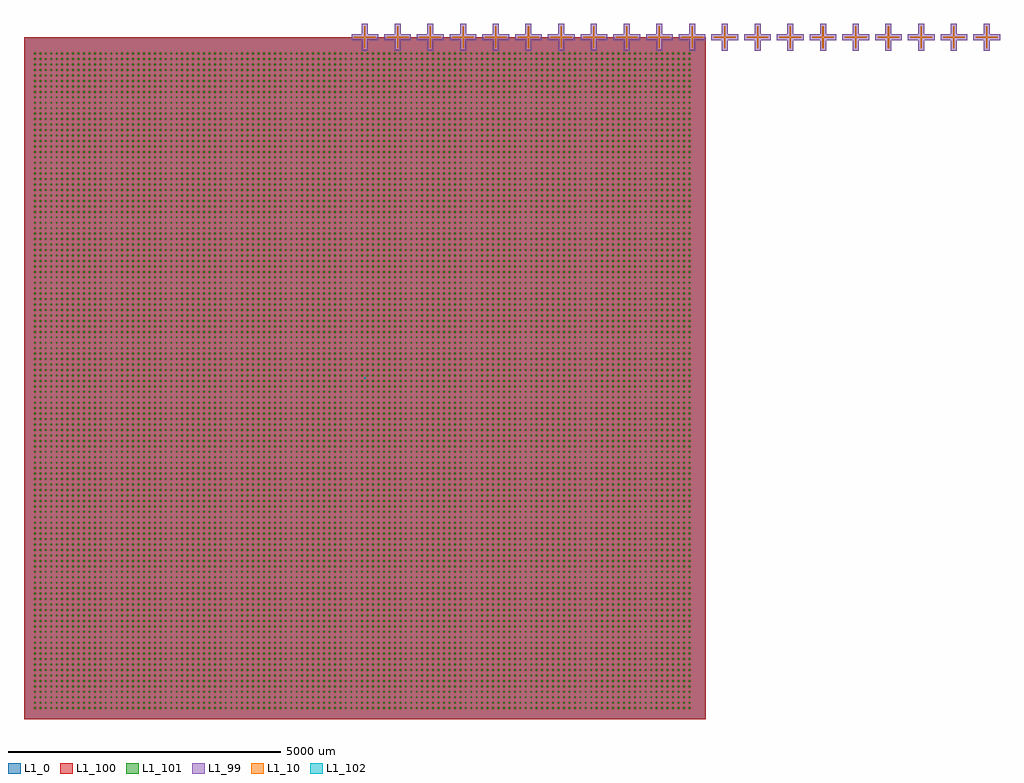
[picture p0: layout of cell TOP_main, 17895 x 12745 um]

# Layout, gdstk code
import gdstk
lib = gdstk.Library(unit=1e-6, precision=1e-09)
def R(c, l, rs):  # rectangles x0, y0, x1, y1
    for r in rs: c.add(gdstk.rectangle(r[:2], r[2:], *l))
def A(c, l, x, y, w, h, nx, ny, dx, dy):  # array of equal rectangles
    R(c, l, [(x+i*dx, y+j*dy, x+i*dx+w, y+j*dy+h) for i in range(nx) for j in range(ny)])
def P(c, l, *ps):  # polygons
    for p in ps: c.add(gdstk.Polygon(p, *l))
L1_0 = (1, 0)
L1_10 = (1, 10)
L1_99 = (1, 99)
L1_100 = (1, 100)
L1_101 = (1, 101)
L1_102 = (1, 102)

ground_main_1 = lib.new_cell('ground_main_1')
P(ground_main_1, L1_0, [(6250,6250),(6220,6250),(6220,6220),(6030,6220),(6030,6030),(5970,6030),(5970,6220),(5780,6220),(5780,6250),(5620,6250),(5620,6220),(5430,6220),(5430,6030),(5370,6030),(5370,6220),(5180,6220),(5180,6250),(5020,6250),(5020,6220),(4830,6220),(4830,6030),(4770,6030),(4770,6220),(4580,6220),(4580,6250),(4420,6250),(4420,6220),(4230,6220),(4230,6030),(4170,6030),(4170,6220),(3980,6220),(3980,6250),(3820,6250),(3820,6220),(3630,6220),(3630,6030),(3570,6030),(3570,6220),(3380,6220),(3380,6250),(3220,6250),(3220,6220),(3030,6220),(3030,6030),(2970,6030),(2970,6220),(2780,6220),(2780,6250),(2620,6250),(2620,6220),(2430,6220),(2430,6030),(2370,6030),(2370,6220),(2180,6220),(2180,6250),(2020,6250),(2020,6220),(1830,6220),(1830,6030),(1770,6030),(1770,6220),(1580,6220),(1580,6250),(1420,6250),(1420,6220),(1230,6220),(1230,6030),(1170,6030),(1170,6220),(980,6220),(980,6250),(820,6250),(820,6220),(630,6220),(630,6030),(570,6030),(570,6220),(380,6220),(380,6250),(220,6250),(220,6220),(30,6220),(30,6030),(-30,6030),(-30,6220),(-220,6220),(-220,6250),(-6250,6250),(-6250,-6250),(6250,-6250)])

top_main_1_one_hole = lib.new_cell('TOP_main_1_one_hole')
P(top_main_1_one_hole, L1_102, [(12.5,-12.5),(12.5,12.5),(-12.5,12.5),(-12.5,-12.5),(12.5,-12.5)])

top_main_1_cheese_diff = lib.new_cell('TOP_main_1_Cheese_diff')
A(top_main_1_cheese_diff, L1_101, -6062.5, -6062.5, 25, 25, 121, 121, 100, 100)

top_main_1_cheese_100 = lib.new_cell('TOP_main_1_Cheese_100')
A(top_main_1_cheese_100, L1_100, -6250, -6062.5, 187.5, 25, 1, 121, 0, 100)
A(top_main_1_cheese_100, L1_100, -6037.5, -6062.5, 75, 25, 120, 121, 100, 100)
A(top_main_1_cheese_100, L1_100, 5962.5, -6062.5, 287.5, 25, 1, 121, 0, 100)
A(top_main_1_cheese_100, L1_100, -6250, -6037.5, 12500, 75, 1, 120, 0, 100)
R(top_main_1_cheese_100, L1_100, [(-6250,-6250,6250,-6062.5)])
P(top_main_1_cheese_100, L1_100, [(6250,6250),(6220,6250),(6220,6220),(6030,6220),(6030,6030),(5970,6030),(5970,6220),(5780,6220),(5780,6250),(5620,6250),(5620,6220),(5430,6220),(5430,6030),(5370,6030),(5370,6220),(5180,6220),(5180,6250),(5020,6250),(5020,6220),(4830,6220),(4830,6030),(4770,6030),(4770,6220),(4580,6220),(4580,6250),(4420,6250),(4420,6220),(4230,6220),(4230,6030),(4170,6030),(4170,6220),(3980,6220),(3980,6250),(3820,6250),(3820,6220),(3630,6220),(3630,6030),(3570,6030),(3570,6220),(3380,6220),(3380,6250),(3220,6250),(3220,6220),(3030,6220),(3030,6030),(2970,6030),(2970,6220),(2780,6220),(2780,6250),(2620,6250),(2620,6220),(2430,6220),(2430,6030),(2370,6030),(2370,6220),(2180,6220),(2180,6250),(2020,6250),(2020,6220),(1830,6220),(1830,6030),(1770,6030),(1770,6220),(1580,6220),(1580,6250),(1420,6250),(1420,6220),(1230,6220),(1230,6030),(1170,6030),(1170,6220),(980,6220),(980,6250),(820,6250),(820,6220),(630,6220),(630,6030),(570,6030),(570,6220),(380,6220),(380,6250),(220,6250),(220,6220),(30,6220),(30,6030),(-30,6030),(-30,6220),(-220,6220),(-220,6250),(-6250,6250),(-6250,5962.5),(6250,5962.5)])

top_main_1 = lib.new_cell('TOP_main_1')
P(top_main_1, L1_10, [(-200,6240),(-200,6260),(-10,6260),(-10,6450),(10,6450),(10,6260),(200,6260),(200,6240),(10,6240),(10,6050),(-10,6050),(-10,6240),(-200,6240)],
  [(400,6240),(400,6260),(590,6260),(590,6450),(610,6450),(610,6260),(800,6260),(800,6240),(610,6240),(610,6050),(590,6050),(590,6240),(400,6240)],
  [(1000,6240),(1000,6260),(1190,6260),(1190,6450),(1210,6450),(1210,6260),(1400,6260),(1400,6240),(1210,6240),(1210,6050),(1190,6050),(1190,6240),(1000,6240)],
  [(1600,6240),(1600,6260),(1790,6260),(1790,6450),(1810,6450),(1810,6260),(2000,6260),(2000,6240),(1810,6240),(1810,6050),(1790,6050),(1790,6240),(1600,6240)],
  [(2200,6240),(2200,6260),(2390,6260),(2390,6450),(2410,6450),(2410,6260),(2600,6260),(2600,6240),(2410,6240),(2410,6050),(2390,6050),(2390,6240),(2200,6240)],
  [(2800,6240),(2800,6260),(2990,6260),(2990,6450),(3010,6450),(3010,6260),(3200,6260),(3200,6240),(3010,6240),(3010,6050),(2990,6050),(2990,6240),(2800,6240)],
  [(3400,6240),(3400,6260),(3590,6260),(3590,6450),(3610,6450),(3610,6260),(3800,6260),(3800,6240),(3610,6240),(3610,6050),(3590,6050),(3590,6240),(3400,6240)],
  [(4000,6240),(4000,6260),(4190,6260),(4190,6450),(4210,6450),(4210,6260),(4400,6260),(4400,6240),(4210,6240),(4210,6050),(4190,6050),(4190,6240),(4000,6240)],
  [(4600,6240),(4600,6260),(4790,6260),(4790,6450),(4810,6450),(4810,6260),(5000,6260),(5000,6240),(4810,6240),(4810,6050),(4790,6050),(4790,6240),(4600,6240)],
  [(5200,6240),(5200,6260),(5390,6260),(5390,6450),(5410,6450),(5410,6260),(5600,6260),(5600,6240),(5410,6240),(5410,6050),(5390,6050),(5390,6240),(5200,6240)],
  [(5800,6240),(5800,6260),(5990,6260),(5990,6450),(6010,6450),(6010,6260),(6200,6260),(6200,6240),(6010,6240),(6010,6050),(5990,6050),(5990,6240),(5800,6240)],
  [(6400,6240),(6400,6260),(6590,6260),(6590,6450),(6610,6450),(6610,6260),(6800,6260),(6800,6240),(6610,6240),(6610,6050),(6590,6050),(6590,6240),(6400,6240)],
  [(7000,6240),(7000,6260),(7190,6260),(7190,6450),(7210,6450),(7210,6260),(7400,6260),(7400,6240),(7210,6240),(7210,6050),(7190,6050),(7190,6240),(7000,6240)],
  [(7600,6240),(7600,6260),(7790,6260),(7790,6450),(7810,6450),(7810,6260),(8000,6260),(8000,6240),(7810,6240),(7810,6050),(7790,6050),(7790,6240),(7600,6240)],
  [(8200,6240),(8200,6260),(8390,6260),(8390,6450),(8410,6450),(8410,6260),(8600,6260),(8600,6240),(8410,6240),(8410,6050),(8390,6050),(8390,6240),(8200,6240)],
  [(8800,6240),(8800,6260),(8990,6260),(8990,6450),(9010,6450),(9010,6260),(9200,6260),(9200,6240),(9010,6240),(9010,6050),(8990,6050),(8990,6240),(8800,6240)],
  [(9400,6240),(9400,6260),(9590,6260),(9590,6450),(9610,6450),(9610,6260),(9800,6260),(9800,6240),(9610,6240),(9610,6050),(9590,6050),(9590,6240),(9400,6240)],
  [(10000,6240),(10000,6260),(10190,6260),(10190,6450),(10210,6450),(10210,6260),(10400,6260),(10400,6240),(10210,6240),(10210,6050),(10190,6050),(10190,6240),(10000,6240)],
  [(10600,6240),(10600,6260),(10790,6260),(10790,6450),(10810,6450),(10810,6260),(11000,6260),(11000,6240),(10810,6240),(10810,6050),(10790,6050),(10790,6240),(10600,6240)],
  [(11200,6240),(11200,6260),(11390,6260),(11390,6450),(11410,6450),(11410,6260),(11600,6260),(11600,6240),(11410,6240),(11410,6050),(11390,6050),(11390,6240),(11200,6240)])
top_main_1.add(gdstk.Reference(ground_main_1, (0,0)))
top_main_1.add(gdstk.Reference(top_main_1_one_hole, (0,0)))
top_main_1.add(gdstk.Reference(top_main_1_cheese_diff, (0,0)))
top_main_1.add(gdstk.Reference(top_main_1_cheese_100, (0,0)))

top_main_1_nocheese_99 = lib.new_cell('TOP_main_1_NoCheese_99')
P(top_main_1_nocheese_99, L1_99, [(11455,6305),(11645,6305),(11645,6195),(11455,6195),(11455,6005),(11345,6005),(11345,6195),(11155,6195),(11155,6305),(11345,6305),(11345,6495),(11455,6495),(11455,6305)],
  [(10855,6305),(11045,6305),(11045,6195),(10855,6195),(10855,6005),(10745,6005),(10745,6195),(10555,6195),(10555,6305),(10745,6305),(10745,6495),(10855,6495),(10855,6305)],
  [(10255,6495),(10255,6305),(10445,6305),(10445,6195),(10255,6195),(10255,6005),(10145,6005),(10145,6195),(9955,6195),(9955,6305),(10145,6305),(10145,6495),(10255,6495)],
  [(9655,6495),(9655,6305),(9845,6305),(9845,6195),(9655,6195),(9655,6005),(9545,6005),(9545,6195),(9355,6195),(9355,6305),(9545,6305),(9545,6495),(9655,6495)],
  [(9055,6495),(9055,6305),(9245,6305),(9245,6195),(9055,6195),(9055,6005),(8945,6005),(8945,6195),(8755,6195),(8755,6305),(8945,6305),(8945,6495),(9055,6495)],
  [(8455,6305),(8645,6305),(8645,6195),(8455,6195),(8455,6005),(8345,6005),(8345,6195),(8155,6195),(8155,6305),(8345,6305),(8345,6495),(8455,6495),(8455,6305)],
  [(7855,6305),(8045,6305),(8045,6195),(7855,6195),(7855,6005),(7745,6005),(7745,6195),(7555,6195),(7555,6305),(7745,6305),(7745,6495),(7855,6495),(7855,6305)],
  [(7255,6495),(7255,6305),(7445,6305),(7445,6195),(7255,6195),(7255,6005),(7145,6005),(7145,6195),(6955,6195),(6955,6305),(7145,6305),(7145,6495),(7255,6495)],
  [(6655,6495),(6655,6305),(6845,6305),(6845,6195),(6655,6195),(6655,6005),(6545,6005),(6545,6195),(6355,6195),(6355,6305),(6545,6305),(6545,6495),(6655,6495)],
  [(6055,6495),(6055,6305),(6245,6305),(6245,6195),(6055,6195),(6055,6005),(5945,6005),(5945,6195),(5755,6195),(5755,6305),(5945,6305),(5945,6495),(6055,6495)],
  [(5455,6305),(5645,6305),(5645,6195),(5455,6195),(5455,6005),(5345,6005),(5345,6195),(5155,6195),(5155,6305),(5345,6305),(5345,6495),(5455,6495),(5455,6305)],
  [(4855,6305),(5045,6305),(5045,6195),(4855,6195),(4855,6005),(4745,6005),(4745,6195),(4555,6195),(4555,6305),(4745,6305),(4745,6495),(4855,6495),(4855,6305)],
  [(4255,6495),(4255,6305),(4445,6305),(4445,6195),(4255,6195),(4255,6005),(4145,6005),(4145,6195),(3955,6195),(3955,6305),(4145,6305),(4145,6495),(4255,6495)],
  [(3655,6495),(3655,6305),(3845,6305),(3845,6195),(3655,6195),(3655,6005),(3545,6005),(3545,6195),(3355,6195),(3355,6305),(3545,6305),(3545,6495),(3655,6495)],
  [(3055,6495),(3055,6305),(3245,6305),(3245,6195),(3055,6195),(3055,6005),(2945,6005),(2945,6195),(2755,6195),(2755,6305),(2945,6305),(2945,6495),(3055,6495)],
  [(2455,6305),(2645,6305),(2645,6195),(2455,6195),(2455,6005),(2345,6005),(2345,6195),(2155,6195),(2155,6305),(2345,6305),(2345,6495),(2455,6495),(2455,6305)],
  [(1855,6305),(2045,6305),(2045,6195),(1855,6195),(1855,6005),(1745,6005),(1745,6195),(1555,6195),(1555,6305),(1745,6305),(1745,6495),(1855,6495),(1855,6305)],
  [(1255,6495),(1255,6305),(1445,6305),(1445,6195),(1255,6195),(1255,6005),(1145,6005),(1145,6195),(955,6195),(955,6305),(1145,6305),(1145,6495),(1255,6495)],
  [(655,6495),(655,6305),(845,6305),(845,6195),(655,6195),(655,6005),(545,6005),(545,6195),(355,6195),(355,6305),(545,6305),(545,6495),(655,6495)],
  [(55,6495),(55,6305),(245,6305),(245,6195),(55,6195),(55,6005),(-55,6005),(-55,6195),(-245,6195),(-245,6305),(-55,6305),(-55,6495),(55,6495)])

top_main = lib.new_cell('TOP_main')
top_main.add(gdstk.Reference(top_main_1, (0,0)))
top_main.add(gdstk.Reference(top_main_1_nocheese_99, (0,0)))

lib.write_gds('TOP_main.gds')
